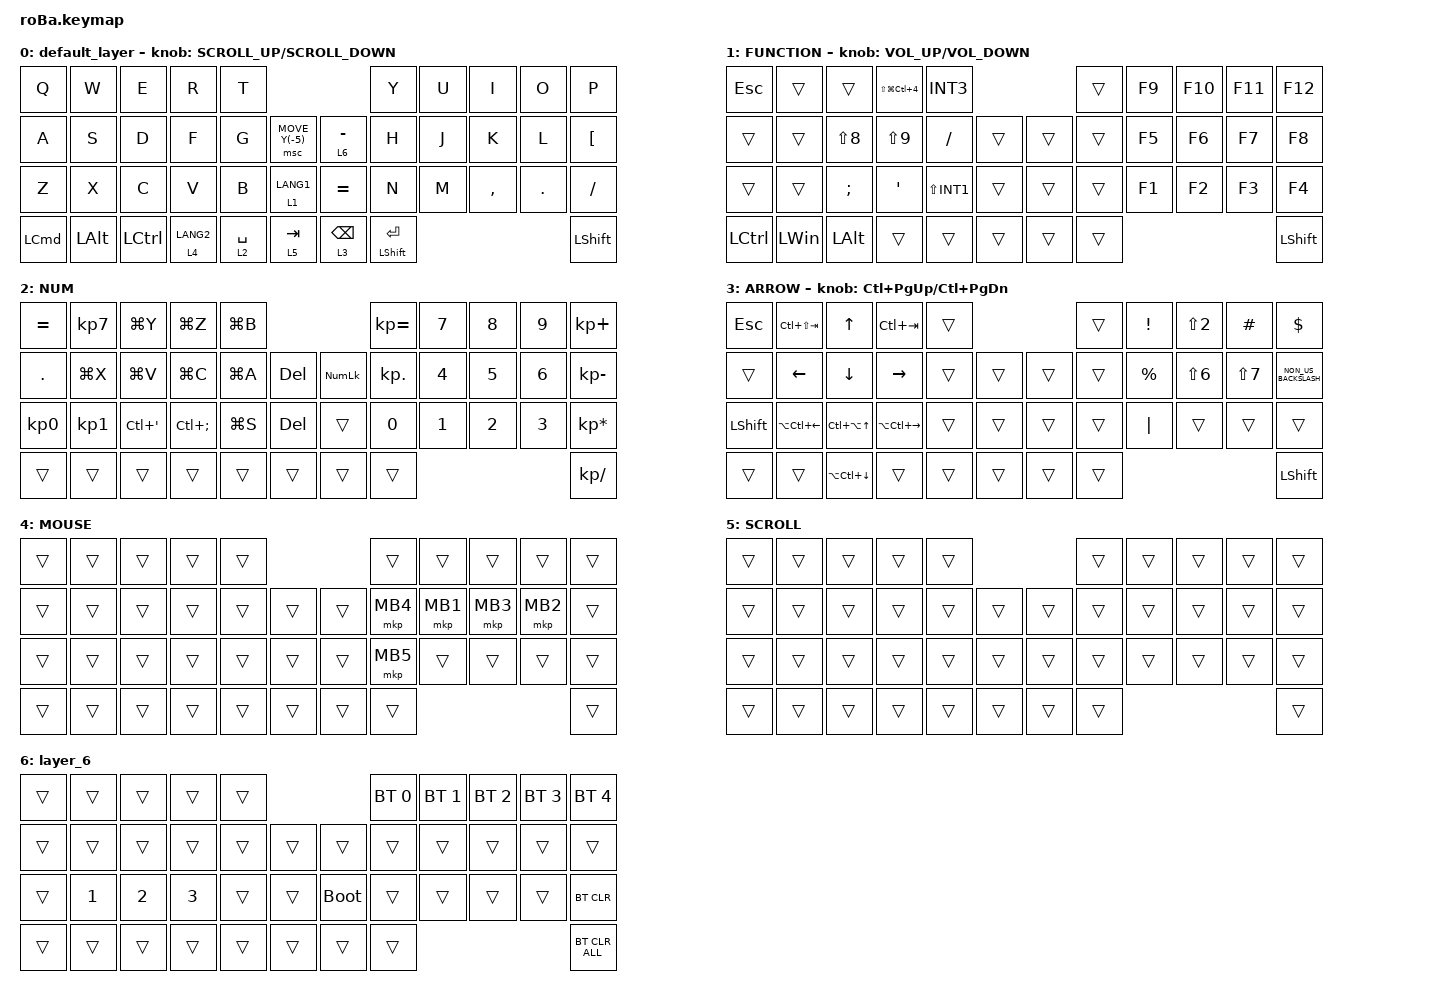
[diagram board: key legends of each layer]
#include <behaviors.dtsi>
#include <dt-bindings/zmk/bt.h>
#include <dt-bindings/zmk/keys.h>
#include <dt-bindings/zmk/pointing.h>

#define MOUSE 4
#define SCROLL 5
#define NUM 6

&mt {
    flavor = "balanced";
    quick-tap-ms = <0>;
};

/ {
    combos {
        compatible = "zmk,combos";

        small_kakko {
            bindings = <&kp LS(N8)>;
            key-positions = <1 2>;
        };

        small_kakko2 {
            bindings = <&kp LS(N9)>;
            key-positions = <2 3>;
        };

        nami_1 {
            bindings = <&kp RIGHT_BRACKET>;
            key-positions = <11 12>;
        };

        nami_2 {
            bindings = <&kp BACKSLASH>;
            key-positions = <12 13>;
        };

        kaku_1 {
            bindings = <&kp LS(RIGHT_BRACKET)>;
            key-positions = <23 24>;
        };

        kaku_2 {
            bindings = <&kp LS(BACKSLASH)>;
            key-positions = <24 25>;
        };
    };

    macros {
        to_layer_0: to_layer_0 {
            compatible = "zmk,behavior-macro-one-param";
            #binding-cells = <1>;
            bindings = <&to 0 &macro_param_1to1 &kp MACRO_PLACEHOLDER>;
            label = "TO_LAYER_0";
        };
    };

    behaviors {
        lt_to_layer_0: lt_to_layer_0 {
            compatible = "zmk,behavior-hold-tap";
            label = "LAYER_TAP_TO_0";
            bindings = <&mo>, <&to_layer_0>;

            #binding-cells = <2>;
            tapping-term-ms = <200>;
        };
    };

    keymap {
        compatible = "zmk,keymap";

        default_layer {
            bindings = <
&kp Q             &kp W         &kp E             &kp R                   &kp T                                                   &kp Y                 &kp U  &kp I      &kp O    &kp P
&kp A             &kp S         &kp D             &kp F                   &kp G        &msc MOVE_Y(-5)           &lt 6 MINUS      &kp H                 &kp J  &kp K      &kp L    &kp LEFT_BRACKET
&kp Z             &kp X         &kp C             &kp V                   &kp B        &lt 1 LANG1               &kp EQUAL        &kp N                 &kp M  &kp COMMA  &kp DOT  &kp SLASH
&kp LEFT_COMMAND  &kp LEFT_ALT  &kp LEFT_CONTROL  &lt_to_layer_0 4 LANG2  &lt 2 SPACE  &lt_to_layer_0 5 TAB      &lt 3 BACKSPACE  &mt LEFT_SHIFT ENTER                             &kp LEFT_SHIFT
            >;

            sensor-bindings = <&inc_dec_kp K_SCROLL_UP K_SCROLL_DOWN>;
        };

        FUNCTION {
            bindings = <
&kp ESCAPE  &trans        &trans         &kp LS(LG(LC(NUMBER_4)))  &kp INT3                          &trans  &kp F9  &kp F10  &kp F11  &kp F12
&trans      &trans        &kp LS(N8)     &kp LS(N9)                &kp SLASH     &trans      &trans  &trans  &kp F5  &kp F6   &kp F7   &kp F8
&trans      &trans        &kp SEMICOLON  &kp SQT                   &kp LS(INT1)  &trans      &trans  &trans  &kp F1  &kp F2   &kp F3   &kp F4
&kp LCTRL   &kp LEFT_WIN  &kp LEFT_ALT   &trans                    &trans        &trans      &trans  &trans                            &kp LEFT_SHIFT
            >;

            sensor-bindings = <&inc_dec_kp C_VOLUME_UP C_VOLUME_DOWN>;
        };

        NUM {
            bindings = <
&kp EQUAL        &kp KP_NUMBER_7  &kp LG(Y)             &kp LG(Z)          &kp LG(B)                                  &kp KP_EQUAL  &kp N7        &kp N8        &kp N9        &kp KP_PLUS
&kp PERIOD       &kp LG(X)        &kp LG(V)             &kp LG(C)          &kp LG(A)  &kp DELETE      &kp KP_NUMLOCK  &kp KP_DOT    &kp NUMBER_4  &kp N5        &kp NUMBER_6  &kp KP_MINUS
&kp KP_NUMBER_0  &kp KP_NUMBER_1  &kp LC(SINGLE_QUOTE)  &kp LC(SEMICOLON)  &kp LG(S)  &kp DELETE      &trans          &kp N0        &kp NUMBER_1  &kp NUMBER_2  &kp NUMBER_3  &kp KP_ASTERISK
&trans           &trans           &trans                &trans             &trans     &trans          &trans          &trans                                                  &kp KP_SLASH
            >;
        };

        ARROW {
            bindings = <
&kp ESCAPE      &kp LC(LS(TAB))         &kp UP_ARROW            &kp LC(TAB)              &trans                      &trans  &kp EXCLAMATION  &kp LS(NUMBER_2)  &kp HASH    &kp DOLLAR
&trans          &kp LEFT_ARROW          &kp DOWN_ARROW          &kp RIGHT_ARROW          &trans  &trans      &trans  &trans  &kp PERCENT      &kp LS(NUMBER_6)  &kp LS(N7)  &kp NON_US_BACKSLASH
&kp LEFT_SHIFT  &kp LA(LC(LEFT_ARROW))  &kp LC(LA(UP_ARROW))    &kp LA(LC(RIGHT_ARROW))  &trans  &trans      &trans  &trans  &kp PIPE         &trans            &trans      &trans
&trans          &trans                  &kp LA(LC(DOWN_ARROW))  &trans                   &trans  &trans      &trans  &trans                                                 &kp LEFT_SHIFT
            >;

            sensor-bindings = <&inc_dec_kp LC(PAGE_UP) LC(PAGE_DOWN)>;
        };

        MOUSE {
            bindings = <
&trans  &trans  &trans  &trans  &trans                      &trans    &trans    &trans    &trans    &trans
&trans  &trans  &trans  &trans  &trans  &trans      &trans  &mkp MB4  &mkp MB1  &mkp MB3  &mkp MB2  &trans
&trans  &trans  &trans  &trans  &trans  &trans      &trans  &mkp MB5  &trans    &trans    &trans    &trans
&trans  &trans  &trans  &trans  &trans  &trans      &trans  &trans                                  &trans
            >;
        };

        SCROLL {
            bindings = <
&trans  &trans  &trans  &trans  &trans                      &trans  &trans  &trans  &trans  &trans
&trans  &trans  &trans  &trans  &trans  &trans      &trans  &trans  &trans  &trans  &trans  &trans
&trans  &trans  &trans  &trans  &trans  &trans      &trans  &trans  &trans  &trans  &trans  &trans
&trans  &trans  &trans  &trans  &trans  &trans      &trans  &trans                          &trans
            >;
        };

        layer_6 {
            bindings = <
&trans  &trans        &trans        &trans        &trans                           &bt BT_SEL 0  &bt BT_SEL 1  &bt BT_SEL 2  &bt BT_SEL 3  &bt BT_SEL 4
&trans  &trans        &trans        &trans        &trans  &trans      &trans       &trans        &trans        &trans        &trans        &trans
&trans  &kp NUMBER_1  &kp NUMBER_2  &kp NUMBER_3  &trans  &trans      &bootloader  &trans        &trans        &trans        &trans        &bt BT_CLR
&trans  &trans        &trans        &trans        &trans  &trans      &trans       &trans                                                  &bt BT_CLR_ALL
            >;
        };
    };
};
